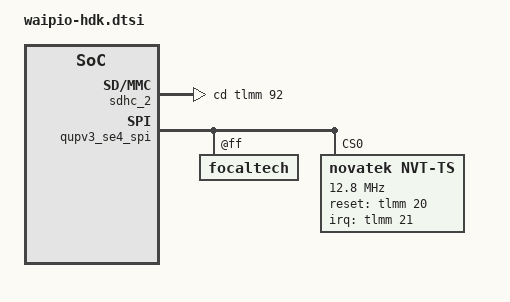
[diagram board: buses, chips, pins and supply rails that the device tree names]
#include "waipio-qrd.dtsi"

&sdhc_2 {
	cd-gpios = <&tlmm 92 GPIO_ACTIVE_HIGH>;
};

&redriver {
	status = "disabled";
};

&usb_qmp_dp_phy {
	pinctrl-names = "default";
};

&qupv3_se4_spi {
	status = "ok";
	qcom,spi-touch-active = "novatek,NVT-ts";
	qcom,la-vm;

	focaltech@0 {
		reg = <0xFF>;
	};

	novatek@0 {
		compatible = "novatek,NVT-ts";
		reg = <0x0>;
		spi-max-frequency = <12800000>;
		interrupt-parent = <&tlmm>;
		interrupts = <21 0x2008>;
		novatek,reset-gpio = <&tlmm 20 0x00>;
		novatek,irq-gpio = <&tlmm 21 0x2008>;
		novatek,swrst-n8-addr = <0x03F0FE>;
		novatek,spi-rd-fast-addr = <0x03F310>;

		pinctrl-names = "pmx_ts_active", "pmx_ts_suspend", "pmx_ts_release";
		pinctrl-0 = <&ts_active>;
		pinctrl-1 = <&ts_int_suspend &ts_reset_suspend>;
		pinctrl-2 = <&ts_release>;

		novatek,trusted-touch-mode = "vm_mode";
		novatek,touch-environment = "pvm";
	};
};
